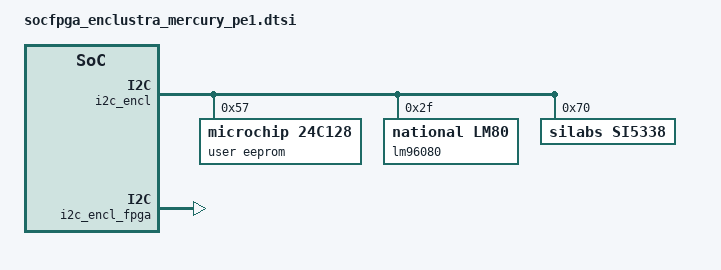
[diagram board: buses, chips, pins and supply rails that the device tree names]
// SPDX-License-Identifier: GPL-2.0+ OR MIT
/*
 * Copyright (C) 2024 Enclustra GmbH - https://www.enclustra.com
 */

&i2c_encl {
	status = "okay";

	eeprom@57 {
		status = "okay";
		compatible = "microchip,24c128";
		reg = <0x57>;
		pagesize = <64>;
		label = "user eeprom";
		address-width = <16>;
	};

	lm96080: temperature-sensor@2f {
		status = "okay";
		compatible = "national,lm80";
		reg = <0x2f>;
	};

	si5338: clock-controller@70 {
		compatible = "silabs,si5338";
		reg = <0x70>;
	};

};

&i2c_encl_fpga {
	status = "okay";
};
